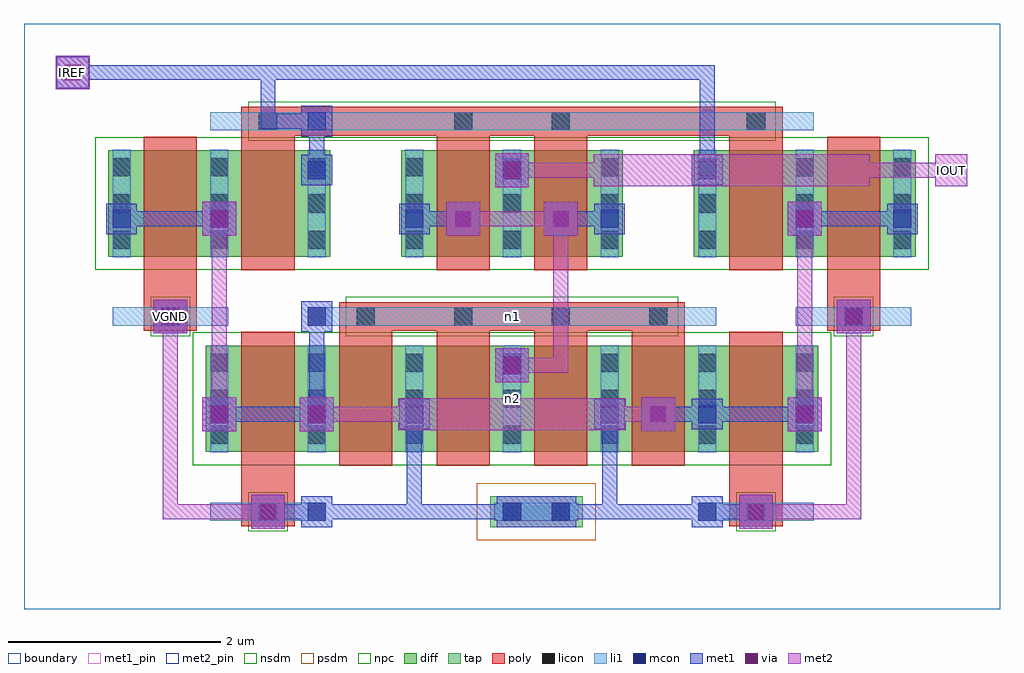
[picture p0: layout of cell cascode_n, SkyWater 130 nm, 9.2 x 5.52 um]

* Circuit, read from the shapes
.subckt cascode_n IOUT IREF VGND n1 n2
XM1 n1 VGND n1 VGND sky130_fd_pr__nfet_01v8 w=1 l=0.5 m=4
XM2 IREF IREF n1 VGND sky130_fd_pr__nfet_01v8 w=1 l=0.5 m=2
XM3 VGND n1 n1 VGND sky130_fd_pr__nfet_01v8 w=1 l=0.5 m=2
XM4 n2 n1 VGND VGND sky130_fd_pr__nfet_01v8 w=1 l=0.5 m=2
XM5 IOUT IREF n2 VGND sky130_fd_pr__nfet_01v8 w=1 l=0.5 m=2
.ends

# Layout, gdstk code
import gdstk
lib = gdstk.Library(unit=1e-6, precision=1e-09)
def R(c, l, rs):  # rectangles x0, y0, x1, y1
    for r in rs: c.add(gdstk.rectangle(r[:2], r[2:], *l))
def A(c, l, x, y, w, h, nx, ny, dx, dy):  # array of equal rectangles
    R(c, l, [(x+i*dx, y+j*dy, x+i*dx+w, y+j*dy+h) for i in range(nx) for j in range(ny)])
diff = (65, 20)
tap = (65, 44)
poly = (66, 20)
licon = (66, 44)
li1 = (67, 20)
mcon = (67, 44)
met1_pin = (68, 16)
met1 = (68, 20)
via = (68, 44)
met2_pin = (69, 16)
met2 = (69, 20)
nsdm = (93, 44)
psdm = (94, 20)
npc = (95, 20)
boundary = (235, 4)

cascode_n = lib.new_cell('cascode_n')
A(cascode_n, diff, 0.795, 3.325, 2.09, 1, 3, 1, 2.76, 0)
R(cascode_n, diff, [(1.715,1.485,7.485,2.485)])
R(cascode_n, tap, [(4.395,0.775,5.265,1.065)])
A(cascode_n, poly, 2.97, 1.355, 0.5, 1.405, 4, 1, 0.92, 0)
R(cascode_n, poly, [(2.05,0.785,2.55,1.055), (6.65,0.785,7.15,1.055), (2.05,0.92,2.55,2.615), (6.65,0.92,7.15,2.615), (1.13,2.625,1.63,2.895), (2.97,2.625,6.23,2.895), (7.57,2.625,8.07,2.895), (1.13,2.76,1.63,4.455), (7.57,2.76,8.07,4.455), (2.05,3.195,2.55,4.6), (3.89,3.195,4.39,4.6), (4.81,3.195,5.31,4.6), (6.65,3.195,7.15,4.6), (2.05,4.465,7.15,4.735)])
A(cascode_n, licon, 1.755, 1.56, 0.17, 0.17, 7, 3, 0.92, 0.34)
A(cascode_n, licon, 3.135, 2.675, 0.17, 0.17, 4, 1, 0.92, 0)
A(cascode_n, licon, 0.835, 3.4, 0.17, 0.17, 9, 3, 0.92, 0.34)
R(cascode_n, licon, [(2.215,0.835,2.385,1.005), (4.515,0.835,4.685,1.005), (4.975,0.835,5.145,1.005), (6.815,0.835,6.985,1.005), (1.295,2.675,1.465,2.845), (7.735,2.675,7.905,2.845), (2.215,4.515,2.385,4.685), (4.055,4.515,4.225,4.685), (4.975,4.515,5.145,4.685), (6.815,4.515,6.985,4.685)])
A(cascode_n, li1, 1.755, 1.48, 0.17, 1.01, 7, 1, 0.92, 0)
A(cascode_n, li1, 0.835, 3.32, 0.17, 1.01, 9, 1, 0.92, 0)
R(cascode_n, li1, [(1.755,0.835,2.845,1.005), (4.435,0.835,5.225,1.005), (6.355,0.835,7.445,1.005), (0.835,2.675,1.925,2.845), (2.675,2.675,6.525,2.845), (7.275,2.675,8.365,2.845), (1.755,4.515,7.445,4.685)])
A(cascode_n, mcon, 2.675, 0.835, 0.17, 0.17, 1, 3, 0, 1.84)
A(cascode_n, mcon, 1.755, 1.755, 0.17, 0.17, 3, 1, 0.92, 0)
A(cascode_n, mcon, 5.435, 1.755, 0.17, 0.17, 3, 1, 0.92, 0)
A(cascode_n, mcon, 1.755, 3.595, 0.17, 0.17, 4, 1, 1.84, 0)
A(cascode_n, mcon, 2.675, 4.055, 0.17, 0.17, 3, 1, 1.84, 0)
R(cascode_n, mcon, [(4.515,0.835,4.685,1.005), (4.975,0.835,5.145,1.005), (6.355,0.835,6.525,1.005), (4.515,2.215,4.685,2.385), (1.295,2.675,1.465,2.845), (7.735,2.675,7.905,2.845), (0.835,3.595,1.005,3.765), (8.195,3.595,8.365,3.765)])
R(cascode_n, met1_pin, [(1.235,2.615,1.525,2.905)])
A(cascode_n, met1, 2.615, 0.775, 0.29, 0.29, 1, 3, 0, 1.84)
A(cascode_n, met1, 2.69, 0.85, 1.06, 0.14, 4, 1, 0.92, 0)
A(cascode_n, met1, 1.695, 1.695, 0.29, 0.29, 3, 1, 0.92, 0)
A(cascode_n, met1, 5.375, 1.695, 0.29, 0.29, 3, 1, 0.92, 0)
A(cascode_n, met1, 1.695, 3.535, 0.29, 0.29, 4, 1, 1.84, 0)
A(cascode_n, met1, 2.615, 3.995, 0.29, 0.29, 3, 1, 1.84, 0)
R(cascode_n, met1, [(2.14,0.76,2.46,1.08), (6.74,0.76,7.06,1.08), (4.455,0.775,5.205,1.065), (6.295,0.775,6.585,1.065), (2.23,0.85,2.83,0.99), (3.61,0.85,3.75,1.91), (4.53,0.85,4.67,0.99), (5.45,0.85,5.59,1.91), (6.37,0.85,6.97,0.99), (1.68,1.68,2,2), (2.6,1.68,2.92,2), (5.82,1.68,6.14,2), (7.2,1.68,7.52,2), (1.77,1.77,2.83,1.91), (2.69,1.77,2.83,2.83), (5.91,1.77,6.51,1.91), (6.37,1.77,7.43,1.91), (4.44,2.14,4.76,2.46), (4.455,2.155,4.745,2.445), (1.22,2.6,1.54,2.92), (7.66,2.6,7.98,2.92), (1.235,2.615,1.525,2.905), (7.675,2.615,7.965,2.905), (1.68,3.52,2,3.84), (3.98,3.52,4.3,3.84), (4.9,3.52,5.22,3.84), (7.2,3.52,7.52,3.84), (0.775,3.535,1.065,3.825), (8.135,3.535,8.425,3.825), (0.85,3.61,1.91,3.75), (3.61,3.61,4.21,3.75), (4.99,3.61,5.59,3.75), (7.29,3.61,8.35,3.75), (4.44,3.98,4.76,4.3), (2.69,4.07,2.83,4.67), (6.37,4.07,6.51,5.13), (2.23,4.53,2.83,4.67), (2.23,4.53,2.37,5.13), (0.3,4.9,0.62,5.22), (0.39,4.99,2.37,5.13), (2.23,4.99,6.51,5.13)])
R(cascode_n, via, [(2.225,0.845,2.375,0.995), (6.825,0.845,6.975,0.995), (1.765,1.765,1.915,1.915), (2.685,1.765,2.835,1.915), (5.905,1.765,6.055,1.915), (7.285,1.765,7.435,1.915), (4.525,2.225,4.675,2.375), (1.305,2.685,1.455,2.835), (7.745,2.685,7.895,2.835), (1.765,3.605,1.915,3.755), (4.065,3.605,4.215,3.755), (4.985,3.605,5.135,3.755), (7.285,3.605,7.435,3.755), (4.525,4.065,4.675,4.215), (0.385,4.985,0.535,5.135)])
R(cascode_n, met2_pin, [(8.59,3.99,8.89,4.29), (0.31,4.91,0.61,5.21)])
R(cascode_n, met2, [(2.14,0.76,2.46,1.08), (6.74,0.76,7.06,1.08), (1.31,0.85,1.45,2.83), (1.31,0.85,2.37,0.99), (6.83,0.85,7.89,0.99), (7.75,0.85,7.89,2.83), (1.68,1.68,2,2), (2.6,1.68,2.92,2), (5.82,1.68,6.14,2), (7.2,1.68,7.52,2), (3.53,1.69,5.67,1.99), (1.77,1.77,1.91,3.75), (2.69,1.77,3.75,1.91), (5.45,1.77,6.05,1.91), (7.29,1.77,7.43,3.75), (4.44,2.14,4.76,2.46), (4.53,2.23,5.13,2.37), (4.99,2.23,5.13,3.75), (1.22,2.6,1.54,2.92), (7.66,2.6,7.98,2.92), (1.68,3.52,2,3.84), (3.98,3.52,4.3,3.84), (4.9,3.52,5.22,3.84), (7.2,3.52,7.52,3.84), (4.07,3.61,5.13,3.75), (4.44,3.98,4.76,4.3), (5.37,3.99,7.97,4.29), (8.59,3.99,8.89,4.29), (4.53,4.07,5.59,4.21), (7.75,4.07,8.81,4.21), (8.67,4.07,8.81,4.21), (0.3,4.9,0.62,5.22), (0.31,4.91,0.61,5.21), (0.39,4.99,0.53,5.13)])
R(cascode_n, nsdm, [(1.59,1.36,7.61,2.61), (0.67,3.2,8.53,4.45)])
R(cascode_n, psdm, [(4.27,0.65,5.39,1.19)])
R(cascode_n, npc, [(2.115,0.735,2.485,1.105), (6.715,0.735,7.085,1.105), (1.195,2.575,1.565,2.945), (3.035,2.575,6.165,2.945), (7.635,2.575,8.005,2.945), (2.115,4.415,7.085,4.785)])
R(cascode_n, boundary, [(0,0,9.2,5.52)])
cascode_n.add(gdstk.Label('n1', (4.6,2.76), layer=67, texttype=5))
cascode_n.add(gdstk.Label('n2', (4.6,1.985), layer=67, texttype=5))
cascode_n.add(gdstk.Label('VGND', (1.38,2.76), layer=68, texttype=5))
cascode_n.add(gdstk.Label('IREF', (0.46,5.06), layer=69, texttype=5))
cascode_n.add(gdstk.Label('IOUT', (8.74,4.14), layer=69, texttype=5))
cascode_n.add(gdstk.Label('VGND', (1.38,2.76), layer=68, texttype=16))
cascode_n.add(gdstk.Label('IREF', (0.46,5.06), layer=69, texttype=16))
cascode_n.add(gdstk.Label('IOUT', (8.74,4.14), layer=69, texttype=16))

lib.write_gds('cascode_n.gds')
